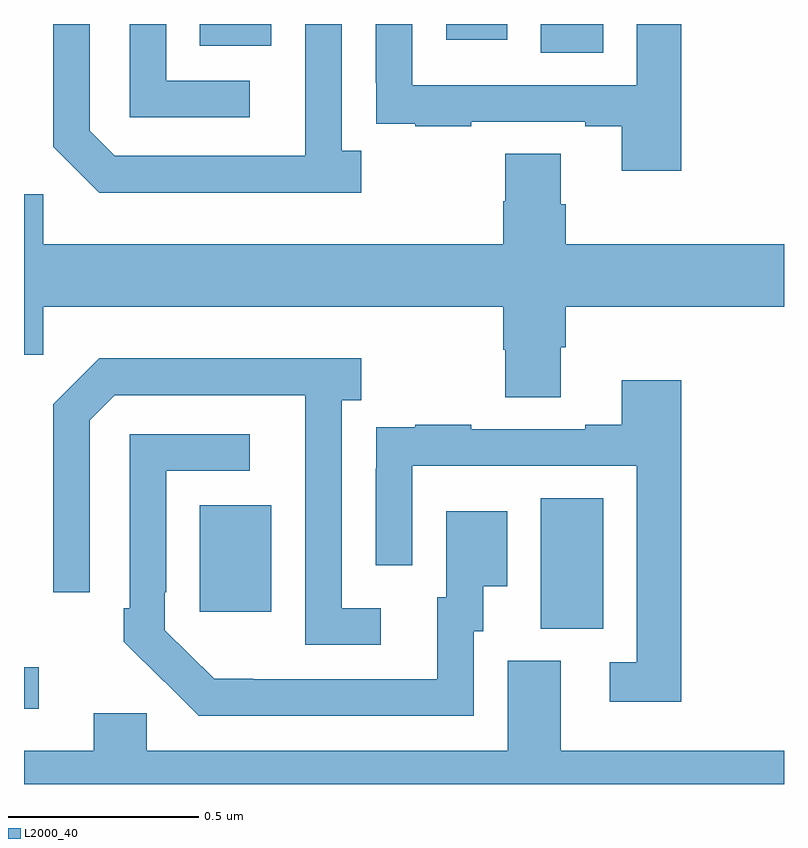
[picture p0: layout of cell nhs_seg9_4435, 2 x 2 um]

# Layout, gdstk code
import gdstk
lib = gdstk.Library(unit=1e-6, precision=1e-09)
def R(c, l, rs):  # rectangles x0, y0, x1, y1
    for r in rs: c.add(gdstk.rectangle(r[:2], r[2:], *l))
def P(c, l, *ps):  # polygons
    for p in ps: c.add(gdstk.Polygon(p, *l))
L2000_40 = (2000, 40)

nhs_seg9_4435 = lib.new_cell('nhs_seg9_4435')
R(nhs_seg9_4435, L2000_40, [(166,1192.698,166.039,1192.807), (167.36,1192.909,167.524,1193.252), (166.463,1192.953,166.651,1193.233), (167.36,1194.424,167.524,1194.5), (166.463,1194.443,166.651,1194.5), (167.111,1194.459,167.272,1194.5)])
P(nhs_seg9_4435, L2000_40, [(166.888,1194.166),(166.836,1194.166),(166.836,1194.5),(166.74,1194.5),(166.74,1194.153),(166.239,1194.153),(166.173,1194.219),(166.173,1194.5),(166.077,1194.5),(166.077,1194.177),(166.198,1194.056),(166.888,1194.056)],
  [(166.594,1194.351),(166.374,1194.351),(166.374,1194.5),(166.278,1194.5),(166.278,1194.255),(166.594,1194.255)],
  [(167.729,1194.5),(167.613,1194.5),(167.613,1194.339),(167.022,1194.339),(167.022,1194.5),(166.926,1194.5),(166.926,1194.346),(166.927,1194.346),(166.927,1194.237),(167.029,1194.237),(167.029,1194.231),(167.177,1194.231),(167.177,1194.243),(167.477,1194.243),(167.477,1194.231),(167.573,1194.231),(167.573,1194.114),(167.729,1194.114)],
  [(167.413,1193.65),(167.426,1193.65),(167.426,1193.756),(168,1193.756),(168,1193.92),(167.426,1193.92),(167.426,1194.026),(167.413,1194.026),(167.413,1194.158),(167.266,1194.158),(167.266,1194.033),(167.261,1194.033),(167.261,1193.92),(166.05,1193.92),(166.05,1194.052),(166,1194.052),(166,1193.63),(166.05,1193.63),(166.05,1193.756),(167.261,1193.756),(167.261,1193.643),(167.266,1193.643),(167.266,1193.518),(167.413,1193.518)],
  [(166.939,1192.962),(166.836,1192.962),(166.836,1193.51),(166.888,1193.51),(166.888,1193.62),(166.198,1193.62),(166.077,1193.499),(166.077,1193.004),(166.173,1193.004),(166.173,1193.457),(166.239,1193.523),(166.74,1193.523),(166.74,1192.866),(166.939,1192.866)],
  [(167.729,1193.563),(167.573,1193.563),(167.573,1193.446),(167.477,1193.446),(167.477,1193.433),(167.177,1193.433),(167.177,1193.446),(167.029,1193.446),(167.029,1193.439),(166.927,1193.439),(166.927,1193.33),(166.926,1193.33),(166.926,1193.076),(167.022,1193.076),(167.022,1193.337),(167.613,1193.337),(167.613,1192.821),(167.541,1192.821),(167.541,1192.716),(167.729,1192.716)],
  [(167.184,1192.902),(167.209,1192.902),(167.209,1193.021),(167.272,1193.021),(167.272,1193.218),(167.111,1193.218),(167.111,1192.992),(167.087,1192.992),(167.087,1192.776),(166.603,1192.776),(166.603,1192.777),(166.5,1192.777),(166.371,1192.905),(166.371,1193.005),(166.374,1193.005),(166.374,1193.325),(166.594,1193.325),(166.594,1193.421),(166.278,1193.421),(166.278,1192.963),(166.263,1192.963),(166.263,1192.875),(166.368,1192.77),(166.369,1192.771),(166.46,1192.68),(167.184,1192.68)],
  [(167.413,1192.824),(167.273,1192.824),(167.273,1192.588),(166.323,1192.588),(166.323,1192.686),(166.184,1192.686),(166.184,1192.588),(166,1192.588),(166,1192.5),(168,1192.5),(168,1192.588),(167.413,1192.588)])

lib.write_gds('nhs_seg9_4435.gds')
